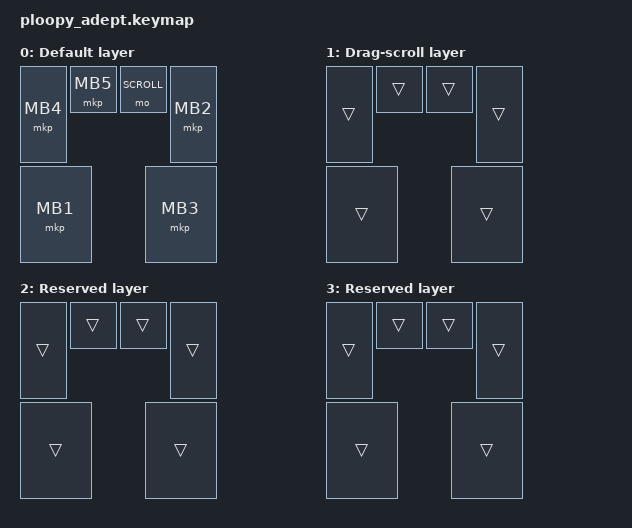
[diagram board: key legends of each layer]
// Copyright (c) 2025, George Norton
// SPDX-License-Identifier: MIT

#include <behaviors.dtsi>
#include <behaviors/mouse_keys.dtsi>
#include <behaviors/mouse_move.dtsi>
#include <dt-bindings/zmk/keys.h>
#include <dt-bindings/zmk/mouse.h>
#include <input/processors.dtsi>

#define BASE 0
#define SCROLL 1
#define RESERVED1 2
#define RESERVED2 3

/ {
    // Enable drag scroll is the SCROLL layer is active
    mouse_listener {
        input-processors = <&zip_xy_scaler 3 2>;

        scroller {
            layers = <SCROLL>;
            input-processors = <&zip_xy_to_scroll_mapper>;
        };
    };

    behaviors {
        // Modified layer tap that supports mouse keys.
        lmkt: layer_tap {
            compatible = "zmk,behavior-hold-tap";
            #binding-cells = <2>;
            flavor = "tap-preferred";
            tapping-term-ms = <200>;
            bindings = <&mo>, <&mkp>;
            display-name = "Layer-Tap";
        };
        // Behaviour to cycle through DPI values on a keypress
        dpi_cycle: sensor_dpi_cycle {
            compatible = "zmk,behavior-sensor-attr-cycle";
            #binding-cells = <1>;
            values = < 100 300 600 900 1200 >;
            attr = <0>;
            sensor_device = <&mouse>;
            display-name = "DPI cycle";
            persistant;
        };
    };

    combos {
        compatible = "zmk,combos";
        combo_bootloader {
            timeout-ms = <500>;
            key-positions = <0 1>;
            bindings = <&bootloader>;
        };
        combo_studio_unlock {
            timeout-ms = <500>;
            key-positions = <4 5>;
            bindings = <&studio_unlock>;
        };
    };

    keymap {
        compatible = "zmk,keymap";

        base_layer {
            bindings = <
                &mkp MB4    &mkp MB5    &mo SCROLL    &mkp MB2    &mkp MB1    &mkp MB3
            >;
            display-name = "Default layer";
        };

        scroll_layer {
            bindings = <
                &trans  &trans  &trans  &trans  &trans  &trans
            >;
            display-name = "Drag-scroll layer";
        };

        reserved_layer_1 {
            bindings = <
                &trans  &trans  &trans  &trans  &trans  &trans
            >;
            display-name = "Reserved layer";
        };

        reserved_layer_2 {
            bindings = <
                &trans  &trans  &trans  &trans  &trans  &trans
            >;
            display-name = "Reserved layer";
        };
    };
};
